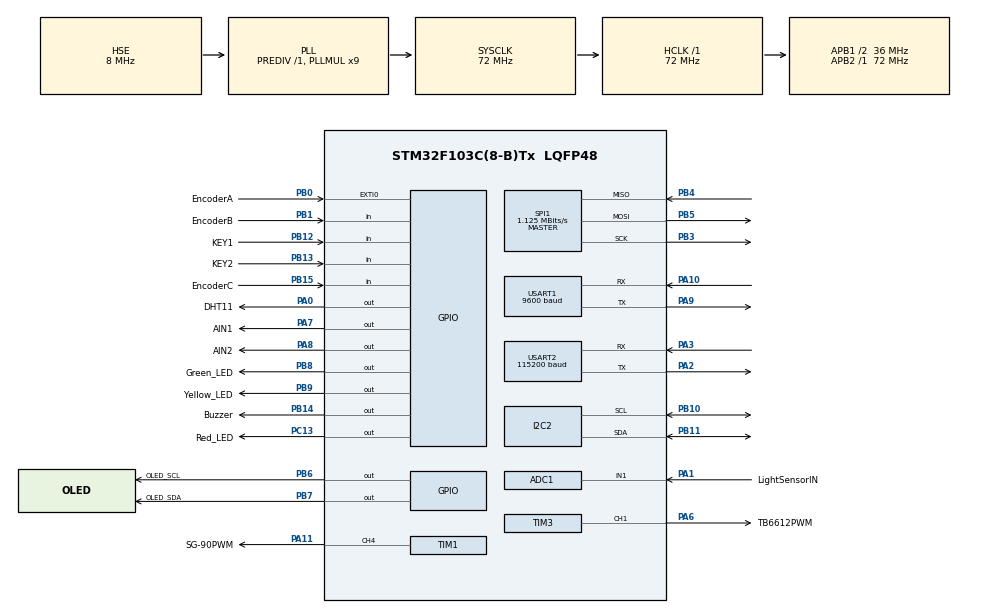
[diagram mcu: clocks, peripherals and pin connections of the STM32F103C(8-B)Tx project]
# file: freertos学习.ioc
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ADC1.Channel-0\#ChannelRegularConversion=ADC_CHANNEL_1
ADC1.ContinuousConvMode=ENABLE
ADC1.NbrOfConversionFlag=1
ADC1.Rank-0\#ChannelRegularConversion=1
ADC1.SamplingTime-0\#ChannelRegularConversion=ADC_SAMPLETIME_13CYCLES_5
ADC1.master=1
FREERTOS.Tasks01=defaultTask,24,128,StartDefaultTask,Default,NULL,Dynamic,NULL,NULL
FREERTOS.configTOTAL_HEAP_SIZE=8192
Mcu.Family=STM32F1
Mcu.Name=STM32F103C(8-B)Tx
Mcu.Package=LQFP48
NVIC.ADC1_2_IRQn=true\:5\:0\:false\:false\:true\:true\:true\:true\:true
NVIC.EXTI0_IRQn=true\:6\:0\:true\:false\:true\:true\:true\:true\:true
NVIC.I2C2_EV_IRQn=true\:5\:0\:false\:false\:true\:true\:true\:true\:true
NVIC.PriorityGroup=NVIC_PRIORITYGROUP_4
NVIC.SPI1_IRQn=true\:5\:0\:false\:false\:true\:true\:true\:true\:true
NVIC.TIM2_IRQn=true\:5\:0\:false\:false\:true\:true\:true\:true\:true
NVIC.TIM3_IRQn=true\:5\:0\:false\:false\:true\:true\:true\:true\:true
NVIC.TIM4_IRQn=true\:15\:0\:false\:false\:true\:false\:false\:true\:true
NVIC.TimeBase=TIM4_IRQn
NVIC.TimeBaseIP=TIM4
NVIC.USART1_IRQn=true\:5\:0\:false\:false\:true\:true\:true\:true\:true
NVIC.USART2_IRQn=true\:5\:0\:false\:false\:true\:true\:true\:true\:true
PA0-WKUP.GPIO_Label=DHT11
PA0-WKUP.GPIO_ModeDefaultOutputPP=GPIO_MODE_OUTPUT_OD
PA0-WKUP.GPIO_PuPd=GPIO_PULLUP
PA0-WKUP.PinState=GPIO_PIN_SET
PA0-WKUP.Signal=GPIO_Output
PA1.GPIO_Label=LightSensorIN
PA1.Signal=ADCx_IN1
PA10.Mode=Asynchronous
PA10.Signal=USART1_RX
PA11.GPIO_Label=SG-90PWM
PA11.Signal=S_TIM1_CH4
PA13.Mode=Serial_Wire
PA13.Signal=SYS_JTMS-SWDIO
PA14.Mode=Serial_Wire
PA14.Signal=SYS_JTCK-SWCLK
PA2.Mode=Asynchronous
PA2.Signal=USART2_TX
PA3.Mode=Asynchronous
PA3.Signal=USART2_RX
PA6.GPIO_Label=TB6612PWM
PA6.Signal=S_TIM3_CH1
PA7.GPIO_Label=AIN1
PA7.Signal=GPIO_Output
PA8.GPIO_Label=AIN2
PA8.Signal=GPIO_Output
PA9.Mode=Asynchronous
PA9.Signal=USART1_TX
PB0.GPIO_Label=EncoderA
PB0.GPIO_ModeDefaultEXTI=GPIO_MODE_IT_RISING
PB0.Signal=GPXTI0
PB1.GPIO_Label=EncoderB
PB1.GPIO_PuPd=GPIO_PULLUP
PB1.Signal=GPIO_Input
PB10.Mode=I2C
PB10.Signal=I2C2_SCL
PB11.Mode=I2C
PB11.Signal=I2C2_SDA
PB12.GPIO_Label=KEY1
PB12.GPIO_PuPd=GPIO_PULLUP
PB12.Signal=GPIO_Input
PB13.GPIO_Label=KEY2
PB13.GPIO_PuPd=GPIO_PULLUP
PB13.Signal=GPIO_Input
PB14.GPIO_Label=Buzzer
PB14.PinState=GPIO_PIN_SET
PB14.Signal=GPIO_Output
PB15.GPIO_Label=EncoderC
PB15.GPIO_PuPd=GPIO_PULLUP
PB15.Signal=GPIO_Input
PB3.Mode=Full_Duplex_Master
PB3.Signal=SPI1_SCK
PB4.Mode=Full_Duplex_Master
PB4.Signal=SPI1_MISO
PB5.Mode=Full_Duplex_Master
PB5.Signal=SPI1_MOSI
PB6.GPIO_Label=OLED_SCL
PB6.GPIO_ModeDefaultOutputPP=GPIO_MODE_OUTPUT_OD
PB6.GPIO_PuPd=GPIO_PULLUP
PB6.PinState=GPIO_PIN_SET
PB6.Signal=GPIO_Output
PB7.GPIO_Label=OLED_SDA
PB7.GPIO_ModeDefaultOutputPP=GPIO_MODE_OUTPUT_OD
PB7.GPIO_PuPd=GPIO_PULLUP
PB7.PinState=GPIO_PIN_SET
PB7.Signal=GPIO_Output
PB8.GPIO_Label=Green_LED
PB8.Signal=GPIO_Output
PB9.GPIO_Label=Yellow_LED
PB9.Signal=GPIO_Output
PC13-TAMPER-RTC.GPIO_Label=Red_LED
PC13-TAMPER-RTC.GPIO_ModeDefaultOutputPP=GPIO_MODE_OUTPUT_OD
PC13-TAMPER-RTC.GPIO_PuPd=GPIO_NOPULL
PC13-TAMPER-RTC.PinState=GPIO_PIN_RESET
PC13-TAMPER-RTC.Signal=GPIO_Output
PD0-OSC_IN.Mode=HSE-External-Oscillator
PD0-OSC_IN.Signal=RCC_OSC_IN
PD1-OSC_OUT.Mode=HSE-External-Oscillator
PD1-OSC_OUT.Signal=RCC_OSC_OUT
ProjectManager.HeapSize=0x200
ProjectManager.StackSize=0x400
ProjectManager.TargetToolchain=CMake
RCC.ADCPresc=RCC_ADCPCLK2_DIV6
RCC.AHBFreq_Value=72000000
RCC.APB1CLKDivider=RCC_HCLK_DIV2
RCC.APB1Freq_Value=36000000
RCC.APB1TimFreq_Value=72000000
RCC.APB2Freq_Value=72000000
RCC.APB2TimFreq_Value=72000000
RCC.HCLKFreq_Value=72000000
RCC.PLLMUL=RCC_PLL_MUL9
RCC.PLLSourceVirtual=RCC_PLLSOURCE_HSE
RCC.SYSCLKFreq_VALUE=72000000
RCC.SYSCLKSource=RCC_SYSCLKSOURCE_PLLCLK
RCC.USBFreq_Value=72000000
SH.ADCx_IN1.0=ADC1_IN1,IN1
SH.S_TIM1_CH4.0=TIM1_CH4,PWM Generation4 CH4
SH.S_TIM3_CH1.0=TIM3_CH1,PWM Generation1 CH1
SPI1.BaudRatePrescaler=SPI_BAUDRATEPRESCALER_64
SPI1.CalculateBaudRate=1.125 MBits/s
SPI1.Direction=SPI_DIRECTION_2LINES
SPI1.Mode=SPI_MODE_MASTER
SPI1.VirtualType=VM_MASTER
TIM1.Channel-PWM\ Generation4\ CH4=TIM_CHANNEL_4
TIM1.Period=19999
TIM1.Prescaler=71
TIM2.Period=9999
TIM2.Prescaler=7199
TIM3.Channel-PWM\ Generation1\ CH1=TIM_CHANNEL_1
TIM3.Period=9
TIM3.Prescaler=7199
USART1.BaudRate=9600
USART1.VirtualMode=VM_ASYNC
USART2.BaudRate=115200
USART2.VirtualMode=VM_ASYNC
VP_FREERTOS_VS_CMSIS_V2.Mode=CMSIS_V2
VP_SYS_VS_tim4.Mode=TIM4
VP_TIM1_VS_ClockSourceINT.Mode=Internal
VP_TIM2_VS_ClockSourceINT.Mode=Internal
board=custom

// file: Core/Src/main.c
/* USER CODE BEGIN Header */
/**
  ******************************************************************************
  * @file           : main.c
  * @brief          : Main program body
  ******************************************************************************
  * @attention
  *
  * Copyright (c) 2026 STMicroelectronics.
  * All rights reserved.
  *
  * This software is licensed under terms that can be found in the LICENSE file
  * in the root directory of this software component.
  * If no LICENSE file comes with this software, it is provided AS-IS.
  *
  ******************************************************************************
  */
/* USER CODE END Header */
#include "main.h"
#include "cmsis_os.h"
#include "adc.h"
#include "i2c.h"
#include "spi.h"
#include "tim.h"
#include "usart.h"
#include "gpio.h"

/* USER CODE BEGIN Includes */
#include "oled.h"
#include "delay.h"
#include "sensor.h"
#include "stm32f103xb.h"
#include "stm32f1xx_hal_gpio.h"
// 每次生成代码就在终端运行一次
// 每次生成代码就在终端运行一次
// 每次生成代码就在终端运行一次
// python 模块化编程脚本助手/fix_all.py

// python 模块化编程脚本助手/fix_all.py

// python 模块化编程脚本助手/fix_all.py

/* USER CODE END Includes */

void SystemClock_Config(void);
void MX_FREERTOS_Init(void);

int main(void)
{

  /* MCU Configuration--------------------------------------------------------*/

  /* Reset of all peripherals, Initializes the Flash interface and the Systick. */
  HAL_Init();

  /* Configure the system clock */
  SystemClock_Config();

  /* Initialize all configured peripherals */
  MX_GPIO_Init();
  __HAL_AFIO_REMAP_SWJ_NOJTAG();  /* JTAG必须在SPI1之前释放PB3/PB4/PB5 */

  MX_USART1_UART_Init();
  MX_TIM2_Init();
  MX_ADC1_Init();
  MX_I2C2_Init();
  MX_SPI1_Init();  /* 现在PB3/PB4/PB5已释放，SPI能正常配置 */
  MX_TIM1_Init();
  MX_TIM3_Init();
  MX_USART2_UART_Init();
  /* USER CODE BEGIN 2 */
  OLED_Init();
  DHT11_TIM_Init();
  HAL_TIM_PWM_Start(&htim1, TIM_CHANNEL_4); // 舵机
  HAL_TIM_PWM_Start(&htim3, TIM_CHANNEL_1); // 风扇
  /* USER CODE END 2 */

  /* Init scheduler */
  osKernelInitialize();  /* Call init function for freertos objects (in cmsis_os2.c) */
  MX_FREERTOS_Init();

  /* Start scheduler */
  osKernelStart();

  /* We should never get here as control is now taken by the scheduler */

  /* Infinite loop */
  while (1) {

  }
}

void SystemClock_Config(void)
{
  RCC_OscInitTypeDef RCC_OscInitStruct = {0};
  RCC_ClkInitTypeDef RCC_ClkInitStruct = {0};
  RCC_PeriphCLKInitTypeDef PeriphClkInit = {0};

  /** Initializes the RCC Oscillators according to the specified parameters
  * in the RCC_OscInitTypeDef structure.
  */
  RCC_OscInitStruct.OscillatorType = RCC_OSCILLATORTYPE_HSE;
  RCC_OscInitStruct.HSEState = RCC_HSE_ON;
  RCC_OscInitStruct.HSEPredivValue = RCC_HSE_PREDIV_DIV1;
  RCC_OscInitStruct.HSIState = RCC_HSI_ON;
  RCC_OscInitStruct.PLL.PLLState = RCC_PLL_ON;
  RCC_OscInitStruct.PLL.PLLSource = RCC_PLLSOURCE_HSE;
  RCC_OscInitStruct.PLL.PLLMUL = RCC_PLL_MUL9;
  if (HAL_RCC_OscConfig(&RCC_OscInitStruct) != HAL_OK)
  {
    Error_Handler();
  }

  /** Initializes the CPU, AHB and APB buses clocks
  */
  RCC_ClkInitStruct.ClockType = RCC_CLOCKTYPE_HCLK|RCC_CLOCKTYPE_SYSCLK
                              |RCC_CLOCKTYPE_PCLK1|RCC_CLOCKTYPE_PCLK2;
  RCC_ClkInitStruct.SYSCLKSource = RCC_SYSCLKSOURCE_PLLCLK;
  RCC_ClkInitStruct.AHBCLKDivider = RCC_SYSCLK_DIV1;
  RCC_ClkInitStruct.APB1CLKDivider = RCC_HCLK_DIV2;
  RCC_ClkInitStruct.APB2CLKDivider = RCC_HCLK_DIV1;

  if (HAL_RCC_ClockConfig(&RCC_ClkInitStruct, FLASH_LATENCY_2) != HAL_OK)
  {
    Error_Handler();
  }
  PeriphClkInit.PeriphClockSelection = RCC_PERIPHCLK_ADC;
  PeriphClkInit.AdcClockSelection = RCC_ADCPCLK2_DIV6;
  if (HAL_RCCEx_PeriphCLKConfig(&PeriphClkInit) != HAL_OK)
  {
    Error_Handler();
  }
}

void HAL_TIM_PeriodElapsedCallback(TIM_HandleTypeDef *htim)
{
  if (htim->Instance == TIM4)
  {
    HAL_IncTick();
  }
}

void Error_Handler(void)
{
  __disable_irq();
  while (1)
  {
  }
}

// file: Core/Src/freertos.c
/* USER CODE BEGIN Header */
/**
  ******************************************************************************
  * File Name          : freertos.c
  * Description        : Code for freertos applications
  ******************************************************************************
  * @attention
  *
  * Copyright (c) 2026 STMicroelectronics.
  * All rights reserved.
  *
  * This software is licensed under terms that can be found in the LICENSE file
  * in the root directory of this software component.
  * If no LICENSE file comes with this software, it is provided AS-IS.
  *
  ******************************************************************************
  */
/* USER CODE END Header */

#include "FreeRTOS.h"
#include "cmsis_os2.h"
#include "task.h"
#include "main.h"
#include "cmsis_os.h"

/* USER CODE BEGIN Includes */
#include "oled.h"
#include "string.h"
#include "usart.h"
#include <stddef.h>
#include <stdint.h>
#include "sensor.h"
#include "system_state.h"
#include "Encoder.h"
#include "motor.h"
#include "BT_WIFI.h"
#include "w25q64.h"
#include "logger.h"
#include "alarm.h"
#include "stdio.h"
#include "stdlib.h"
/* USER CODE END Includes */

/* USER CODE BEGIN Variables */
osThreadId_t OLEDTaskHandle;
const osThreadAttr_t OLEDTask_attributes = {
    .name = "OLEDTask",
    .stack_size = 128 * 10,
    .priority = (osPriority_t)osPriorityAboveNormal,
};
osThreadId_t SensorTaskHandle;
const osThreadAttr_t SensorTask_attributes = {
    .name = "SensorTask",
    .stack_size = 128 * 12,
    .priority = (osPriority_t)osPriorityHigh,
};
osThreadId_t ButtonTaskHandle;
const osThreadAttr_t ButtonTask_attributes = {
    .name = "ButtonTask",
    .stack_size = 128 * 4,
    .priority = (osPriority_t)osPriorityAboveNormal,
};
osThreadId_t BT_TaskHandle;
const osThreadAttr_t BT_Task_attributes = {
    .name = "BT_Task",
    .stack_size = 128 * 8,
    .priority = (osPriority_t)osPriorityAboveNormal,
};
osThreadId_t WiFi_TaskHandle;
const osThreadAttr_t WiFi_Task_attributes = {
    .name = "WiFi_Task",
    .stack_size = 128 * 16,
    .priority = (osPriority_t)osPriorityAboveNormal,
};
osThreadId_t LoggerTaskHandle;
const osThreadAttr_t LoggerTask_attributes = {
    .name = "LoggerTask",
    .stack_size = 128 * 6,
    .priority = (osPriority_t)osPriorityNormal,
};
osThreadId_t AlarmTaskHandle;
const osThreadAttr_t AlarmTask_attributes = {
    .name = "AlarmTask",
    .stack_size = 128 * 4,
    .priority = (osPriority_t)osPriorityAboveNormal,
};
osMutexId_t UART1_MutexHandle;
const osMutexAttr_t UART1_Mutex_attributes = {
    .name = "UART1_Mutex"
};
/* USER CODE END Variables */
/* Definitions for defaultTask */
osThreadId_t defaultTaskHandle;
const osThreadAttr_t defaultTask_attributes = {
  .name = "defaultTask",
  .stack_size = 128 * 16,
  .priority = (osPriority_t) osPriorityAboveNormal,
};

/* USER CODE BEGIN FunctionPrototypes */

/* ====== 任务定义 ====== */

void OLEDTask(void *argument) {
  uint8_t last_page = 0xFF;
  char line[20];  /* OLED 一行最多 16 字符 + '\0'，留余量防格式截断 */

  while (1) {
    if (g_state.display_page != last_page) {
      OLED_Clear();
      last_page = g_state.display_page;
    }

    switch (g_state.display_page) {
    case 0: /* ====== 第1页：实时传感器数据 ====== */
      snprintf(line, sizeof(line), "T:%d.%dC H:%d.%d%%",
               (int)g_state.temp, ((int)(g_state.temp * 10)) % 10,
               (int)g_state.humi, ((int)(g_state.humi * 10)) % 10);
      OLED_ShowString(1, 1, line);

      snprintf(line, sizeof(line), "Light: %d", g_state.light_raw);
      OLED_ShowString(2, 1, line);

      snprintf(line, sizeof(line), "P:%d  R:%d",
               (int)g_state.pitch, (int)g_state.roll);
      OLED_ShowString(3, 1, line);

      /* 第4行显示模式 + 报警 */
      if (g_state.mode == MODE_AUTO)      OLED_ShowString(4, 1, "AUTO  ");
      else if (g_state.mode == MODE_MANUAL) OLED_ShowString(4, 1, "MANUAL");
      else                                  OLED_ShowString(4, 1, "SLEEP ");
      if (g_state.alarm == ALARM_WARN)     OLED_ShowString(4, 8, "WARN");
      else if (g_state.alarm == ALARM_CRITICAL) OLED_ShowString(4, 8, "ALRM");
      else                                  OLED_ShowString(4, 8, "OK  ");
      break;

    case 1: /* ====== 第2页：阈值设置 + 执行器 ====== */
      snprintf(line, sizeof(line), "Thres:%d.%dC",
               (int)g_state.temp_threshold,
               ((int)(g_state.temp_threshold * 10)) % 10);
      OLED_ShowString(1, 1, line);

      snprintf(line, sizeof(line), "Fan: %d%%", g_state.fan_speed);
      OLED_ShowString(2, 1, line);

      snprintf(line, sizeof(line), "Servo: %d",
               (int)g_state.servo_angle);
      OLED_ShowString(3, 1, line);

      if (g_state.mode == MODE_AUTO)      OLED_ShowString(4, 1, "Mode: AUTO  ");
      else if (g_state.mode == MODE_MANUAL) OLED_ShowString(4, 1, "Mode: MANUAL");
      else                                  OLED_ShowString(4, 1, "Mode: SLEEP ");
      break;

    case 2: /* ====== 第3页：日志信息 ====== */
      OLED_ShowString(1, 1, "=== LOG ===");
      snprintf(line, sizeof(line), "Count: %d", g_state.log_count);
      OLED_ShowString(2, 1, line);
      snprintf(line, sizeof(line), "Max: %d", (int)LOG_MAX_RECORDS);
      OLED_ShowString(3, 1, line);
      OLED_ShowString(4, 1, "Bt:LOG to dump");
      break;

    case 3: /* ====== 第4页：系统信息 ====== */
      OLED_ShowString(1, 1, "=== SYS ===");
      snprintf(line, sizeof(line), "Up: %dmin",
               (int)(g_state.uptime_sec / 60));
      OLED_ShowString(2, 1, line);
      snprintf(line, sizeof(line), "Heap: %d",
               (int)g_state.free_heap);
      OLED_ShowString(3, 1, line);
      snprintf(line, sizeof(line), "Free: %d",
               (int)xPortGetFreeHeapSize());
      OLED_ShowString(4, 1, line);
      break;

    default:
      g_state.display_page = PAGE_DATA;
      break;
    }

    osDelay(200);
  }
}

void SensorTask(void *argument) {
  char dbg[48];
  uint32_t last_sns_dbg = 0;
  DebugPrint("SNS: SensorTask start\r\n");
  MPU6050_Init();
  DebugPrint("SNS: MPU6050 Init done\r\n");
  TB6612_Init();
  while (1) {
    LightSensor_Read();
    DHT11_Read();
    MPU6050_Read();
    fan_control();
    SG90_Control();
    g_state.uptime_sec = HAL_GetTick() / 1000;
    g_state.free_heap = xPortGetFreeHeapSize();
    /* 每10秒打印传感器值 */
    if (HAL_GetTick() - last_sns_dbg >= 10000) {
      snprintf(dbg, sizeof(dbg), "SNS: T=%d H=%d L=%u P=%d\r\n",
               (int)g_state.temp, (int)g_state.humi,
               (unsigned)g_state.light_raw, (int)g_state.pitch);
      DebugPrint(dbg);
      last_sns_dbg = HAL_GetTick();
    }
    osDelay(1000);
  }
}

void Task_BT(void *argument) {
  BT_Control();
}

void Task_WiFi(void *argument) {
  char dbg[48];

  /* 启动确认：直接写 UART1（蓝牙），不走互斥量 */
  HAL_UART_Transmit(&huart1, (uint8_t *)"WiFi: task started\r\n", 21, 100);

  osDelay(8000);  /* 等其他任务稳定 */

  HAL_UART_Transmit(&huart1, (uint8_t *)"WiFi: delay done, init...\r\n", 27, 100);

  /* WiFi 初始化，最多重试3次 */
  uint8_t wifi_ok = 1;
  for (int i = 0; i < 3; i++) {
    snprintf(dbg, sizeof(dbg), "WiFi: try %d\r\n", i);
    HAL_UART_Transmit(&huart1, (uint8_t *)dbg, strlen(dbg), 100);
    wifi_ok = ESP8266_Init();
    if (wifi_ok == 0) {
      HAL_UART_Transmit(&huart1, (uint8_t *)"WiFi: SUCCESS\r\n", 16, 100);
      break;
    }
    snprintf(dbg, sizeof(dbg), "WiFi: FAIL=%d\r\n", wifi_ok);
    HAL_UART_Transmit(&huart1, (uint8_t *)dbg, strlen(dbg), 100);
    osDelay(5000);
  }

  uint32_t last_report = HAL_GetTick();
  while(1) {
    if (wifi_ok == 0 && (HAL_GetTick() - last_report >= 30000)) {
      HAL_UART_Transmit(&huart1, (uint8_t *)"WiFi: report...\r\n", 18, 100);
      if (ESP8266_Report() != 0) {
        HAL_UART_Transmit(&huart1, (uint8_t *)"WiFi: report FAIL\r\n", 20, 100);
        wifi_ok = ESP8266_Init();
      } else {
        HAL_UART_Transmit(&huart1, (uint8_t *)"WiFi: report OK\r\n", 18, 100);
      }
      last_report = HAL_GetTick();
    }
    osDelay(100);
  }
}

/* 日志任务：每 60 秒写入一条记录 */
void Task_Logger(void *argument) {
  osDelay(8000);  /* 等系统稳定 + WiFi 初始化完成 */
  while (1) {
    Logger_Write();
    g_state.log_count = Logger_GetCount();
    osDelay(60000);  /* 60 秒 */
  }
}

/* 报警任务：等传感器稳定后再开始检查 */
void Task_Alarm(void *argument) {
  osDelay(10000);  /* 等DHT11/MPU6050稳定，避免误报警 */
  /* 启动时强制关闭蜂鸣器和报警状态 */
  g_state.alarm = ALARM_NONE;
  HAL_GPIO_WritePin(Buzzer_GPIO_Port, Buzzer_Pin, GPIO_PIN_RESET);
  while (1) {
    Alarm_Check();
    g_state.log_count = Logger_GetCount();
    osDelay(1000);
  }
}

/* USER CODE END FunctionPrototypes */

void StartDefaultTask(void *argument);

void MX_FREERTOS_Init(void); /* (MISRA C 2004 rule 8.1) */

void MX_FREERTOS_Init(void) {

  /* USER CODE BEGIN RTOS_MUTEX */
  UART1_MutexHandle = osMutexNew(&UART1_Mutex_attributes);
  /* USER CODE END RTOS_MUTEX */

  /* Create the thread(s) */
  /* creation of defaultTask */
  defaultTaskHandle = osThreadNew(StartDefaultTask, NULL, &defaultTask_attributes);

  /* USER CODE BEGIN RTOS_THREADS */
  OLEDTaskHandle = osThreadNew(OLEDTask, NULL, &OLEDTask_attributes);
  SensorTaskHandle = osThreadNew(SensorTask, NULL, &SensorTask_attributes);
  ButtonTaskHandle = osThreadNew(buttonTask, NULL, &ButtonTask_attributes);
  BT_TaskHandle = osThreadNew(Task_BT, NULL, &BT_Task_attributes);
  WiFi_TaskHandle = osThreadNew(Task_WiFi, NULL, &WiFi_Task_attributes);
  LoggerTaskHandle = osThreadNew(Task_Logger, NULL, &LoggerTask_attributes);
  AlarmTaskHandle = osThreadNew(Task_Alarm, NULL, &AlarmTask_attributes);
  /* USER CODE END RTOS_THREADS */

}

void StartDefaultTask(void *argument)
{
  /* USER CODE BEGIN StartDefaultTask */
  /* 初始化外设 */
  DebugPrint("SYS: W25Q64_Init...\r\n");
  W25Q64_Init();
  DebugPrint("SYS: Logger_Init...\r\n");
  Logger_Init();
  DebugPrint("SYS: Alarm_Init...\r\n");
  Alarm_Init();

  /* 启动时立即设LED绿灯 + 蜂鸣器关（硬件active-high，LOW=亮/响） */
  g_state.alarm = ALARM_NONE;
  HAL_GPIO_WritePin(Red_LED_GPIO_Port, Red_LED_Pin, GPIO_PIN_RESET);    /* 红灯灭 */
  HAL_GPIO_WritePin(Green_LED_GPIO_Port, Green_LED_Pin, GPIO_PIN_SET);  /* 绿灯亮 */
  HAL_GPIO_WritePin(Yellow_LED_GPIO_Port, Yellow_LED_Pin, GPIO_PIN_RESET); /* 黄灯灭 */
  HAL_GPIO_WritePin(Buzzer_GPIO_Port, Buzzer_Pin, GPIO_PIN_SET);        /* 蜂鸣器关 */
  DebugPrint("SYS: LED set to GREEN\r\n");

  /* 主循环：LED 状态灯控制 */
  uint32_t last_blink = 0;
  uint32_t last_dbg = 0;
  char dbg[48];
  for (;;) {
    uint32_t now = HAL_GetTick();

    /* 每5秒打印一次报警状态 */
    if (now - last_dbg >= 5000) {
      snprintf(dbg, sizeof(dbg), "SYS: alarm=%d tick=%u\r\n",
               (int)g_state.alarm, (unsigned)now);
      DebugPrint(dbg);
      last_dbg = now;
    }

    switch (g_state.alarm) {
    case ALARM_CRITICAL:
      /* 红灯快闪（200ms），active-high */
      if (now - last_blink >= 200) {
        HAL_GPIO_TogglePin(Red_LED_GPIO_Port, Red_LED_Pin);
        HAL_GPIO_WritePin(Green_LED_GPIO_Port, Green_LED_Pin, GPIO_PIN_RESET);  /* 绿灭 */
        HAL_GPIO_WritePin(Yellow_LED_GPIO_Port, Yellow_LED_Pin, GPIO_PIN_RESET); /* 黄灭 */
        last_blink = now;
      }
      break;

    case ALARM_WARN:
      /* 黄灯常亮，active-high */
      HAL_GPIO_WritePin(Red_LED_GPIO_Port, Red_LED_Pin, GPIO_PIN_RESET);    /* 红灭 */
      HAL_GPIO_WritePin(Green_LED_GPIO_Port, Green_LED_Pin, GPIO_PIN_RESET); /* 绿灭 */
      HAL_GPIO_WritePin(Yellow_LED_GPIO_Port, Yellow_LED_Pin, GPIO_PIN_SET);  /* 黄亮 */
      break;

    default:
      /* 绿灯常亮（正常），active-high */
      HAL_GPIO_WritePin(Red_LED_GPIO_Port, Red_LED_Pin, GPIO_PIN_RESET);    /* 红灭 */
      HAL_GPIO_WritePin(Green_LED_GPIO_Port, Green_LED_Pin, GPIO_PIN_SET);   /* 绿亮 */
      HAL_GPIO_WritePin(Yellow_LED_GPIO_Port, Yellow_LED_Pin, GPIO_PIN_RESET); /* 黄灭 */
      break;
    }

    osDelay(100);
  }
  /* USER CODE END StartDefaultTask */
}
